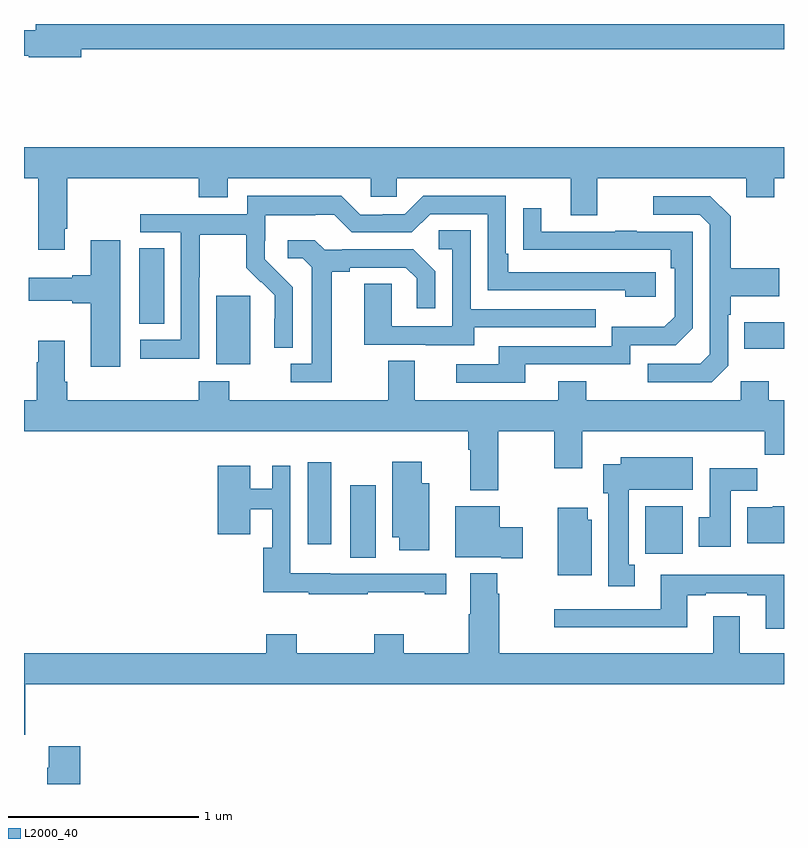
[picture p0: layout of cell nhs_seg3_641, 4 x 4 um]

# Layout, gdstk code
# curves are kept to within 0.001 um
import gdstk
lib = gdstk.Library(unit=1e-6, precision=1e-09)
def R(c, l, rs):  # rectangles x0, y0, x1, y1
    for r in rs: c.add(gdstk.rectangle(r[:2], r[2:], *l))
def P(c, l, *ps):  # polygons
    for p in ps: c.add(gdstk.Polygon(p, *l))
L2000_40 = (2000, 40)

nhs_seg3_641 = lib.new_cell('nhs_seg3_641')
R(nhs_seg3_641, L2000_40, [(144.716,693.592,144.85,693.973), (146.271,693.612,146.467,693.862), (144.494,693.663,144.616,694.093), (144.011,694.61,144.19,694.971), (146.791,694.691,147,694.831), (143.606,694.822,143.737,695.219)])
P(nhs_seg3_641, L2000_40, [(143.302,696.268),(147,696.268),(147,696.4),(143.063,696.4),(143.063,696.368),(143,696.368),(143,696.234),(143.026,696.234),(143.026,696.226),(143.302,696.226)],
  [(143.215,695.323),(143.228,695.323),(143.228,695.588),(143.921,695.588),(143.921,695.489),(144.073,695.489),(144.073,695.588),(144.825,695.588),(144.825,695.49),(144.963,695.49),(144.963,695.588),(145.877,695.588),(145.877,695.394),(146.017,695.394),(146.017,695.588),(146.801,695.588),(146.801,695.489),(146.949,695.489),(146.949,695.588),(147,695.588),(147,695.752),(143,695.752),(143,695.588),(143.075,695.588),(143.075,695.211),(143.215,695.211)],
  [(143.922,695.068),(143.925,695.068),(143.925,695.292),(144.169,695.292),(144.169,695.117),(144.246,695.04),(144.249,695.043),(144.32,694.973),(144.32,694.85),(144.318,694.85),(144.318,694.696),(144.414,694.696),(144.414,695.014),(144.268,695.162),(144.268,695.259),(144.27,695.259),(144.27,695.393),(144.533,695.393),(144.533,695.397),(144.633,695.397),(144.726,695.304),(145.041,695.304),(145.137,695.4),(145.44,695.4),(145.44,694.998),(146.165,694.998),(146.165,694.964),(146.326,694.964),(146.326,695.094),(145.549,695.094),(145.549,695.191),(145.536,695.191),(145.536,695.496),(145.101,695.496),(145.005,695.4),(144.887,695.4),(144.887,695.397),(144.771,695.397),(144.671,695.497),(144.174,695.497),(144.174,695.4),(143.613,695.4),(143.613,695.304),(143.826,695.304),(143.826,694.737),(143.613,694.737),(143.613,694.639),(143.922,694.639)],
  [(146.706,694.602),(146.706,694.871),(146.719,694.871),(146.719,694.967),(146.975,694.967),(146.975,695.115),(146.719,695.115),(146.719,695.387),(146.613,695.493),(146.313,695.493),(146.313,695.397),(146.556,695.397),(146.61,695.343),(146.61,694.662),(146.559,694.611),(146.283,694.611),(146.283,694.515),(146.619,694.515)],
  [(145.639,694.608),(146.19,694.608),(146.19,694.71),(146.43,694.71),(146.52,694.8),(146.52,695.307),(146.225,695.307),(146.225,695.312),(146.113,695.312),(146.113,695.307),(145.723,695.307),(145.723,695.431),(145.627,695.431),(145.627,695.212),(146.404,695.211),(146.404,695.114),(146.424,695.114),(146.424,694.86),(146.371,694.807),(146.094,694.807),(146.094,694.704),(145.499,694.704),(145.499,694.608),(145.275,694.608),(145.275,694.512),(145.639,694.512)],
  [(145.369,694.803),(146.009,694.803),(146.009,694.899),(145.35,694.899),(145.35,695.315),(145.182,695.315),(145.182,695.214),(145.254,695.214),(145.254,694.809),(144.936,694.809),(144.936,695.033),(144.791,695.033),(144.791,694.713),(145.115,694.713),(145.115,694.709),(145.369,694.709)],
  [(144.619,695.096),(144.715,695.096),(144.715,695.118),(145.01,695.118),(145.067,695.061),(145.067,694.905),(145.164,694.905),(145.164,695.098),(145.048,695.214),(144.676,695.214),(144.676,695.211),(144.582,695.211),(144.53,695.263),(144.387,695.263),(144.387,695.166),(144.468,695.166),(144.515,695.119),(144.515,694.611),(144.405,694.611),(144.405,694.515),(144.619,694.515)],
  [(143.506,695.263),(143.351,695.263),(143.351,695.078),(143.255,695.078),(143.255,695.065),(143.025,695.065),(143.025,694.943),(143.255,694.943),(143.255,694.931),(143.351,694.931),(143.351,694.596),(143.506,694.596)],
  [(145.811,694.42),(145.057,694.42),(145.057,694.628),(144.917,694.628),(144.917,694.42),(144.081,694.42),(144.081,694.519),(143.921,694.519),(143.921,694.42),(143.228,694.42),(143.228,694.516),(143.215,694.516),(143.215,694.732),(143.075,694.732),(143.075,694.619),(143.068,694.619),(143.068,694.42),(143,694.42),(143,694.256),(145.337,694.256),(145.337,694.16),(145.349,694.16),(145.349,693.947),(145.497,693.947),(145.497,694.256),(145.792,694.256),(145.792,694.062),(145.939,694.062),(145.939,694.256),(146.899,694.256),(146.899,694.132),(147,694.132),(147,694.42),(146.919,694.42),(146.919,694.519),(146.772,694.519),(146.772,694.42),(145.959,694.42),(145.959,694.519),(145.811,694.519)],
  [(146.215,693.553),(146.182,693.553),(146.182,693.95),(146.521,693.95),(146.521,694.12),(146.141,694.12),(146.141,694.084),(146.048,694.084),(146.048,693.93),(146.075,693.93),(146.075,693.441),(146.215,693.441)],
  [(145.132,693.982),(145.093,693.982),(145.093,694.096),(144.938,694.096),(144.938,693.698),(144.974,693.698),(144.974,693.63),(145.132,693.63)],
  [(144.809,693.409),(145.109,693.409),(145.109,693.399),(145.222,693.399),(145.222,693.507),(144.612,693.507),(144.612,693.508),(144.402,693.508),(144.402,694.075),(144.306,694.075),(144.306,693.955),(144.19,693.955),(144.19,694.075),(144.02,694.075),(144.02,693.714),(144.19,693.714),(144.19,693.845),(144.306,693.845),(144.306,693.643),(144.26,693.643),(144.26,693.409),(144.499,693.409),(144.499,693.399),(144.809,693.399)],
  [(146.719,693.944),(146.858,693.944),(146.858,694.062),(146.609,694.062),(146.609,693.804),(146.552,693.804),(146.552,693.648),(146.719,693.648)],
  [(147,693.862),(146.94,693.862),(146.94,693.856),(146.807,693.856),(146.807,693.668),(147,693.668)],
  [(145.624,693.751),(145.504,693.751),(145.504,693.862),(145.271,693.862),(145.271,693.593),(145.511,693.593),(145.511,693.587),(145.624,693.587)],
  [(145.987,693.792),(145.966,693.792),(145.966,693.853),(145.808,693.853),(145.808,693.5),(145.987,693.5)],
  [(143.006,692.924),(147,692.924),(147,693.088),(146.767,693.088),(146.767,693.283),(146.627,693.283),(146.627,693.088),(145.502,693.088),(145.502,693.401),(145.492,693.401),(145.492,693.508),(145.349,693.508),(145.349,693.293),(145.342,693.293),(145.342,693.088),(144.999,693.088),(144.999,693.187),(144.844,693.187),(144.844,693.088),(144.435,693.088),(144.435,693.187),(144.275,693.187),(144.275,693.088),(143,693.088),(143,692.659),(143.006,692.659)],
  [(147,693.502),(146.351,693.502),(146.351,693.321),(145.791,693.321),(145.791,693.224),(146.491,693.224),(146.491,693.393),(146.587,693.393),(146.587,693.405),(146.807,693.405),(146.807,693.393),(146.903,693.393),(146.903,693.216),(147,693.216)],
  [(143.297,692.599),(143.129,692.599),(143.129,692.486),(143.122,692.486),(143.122,692.4),(143.297,692.4)])

lib.write_gds('nhs_seg3_641.gds')
